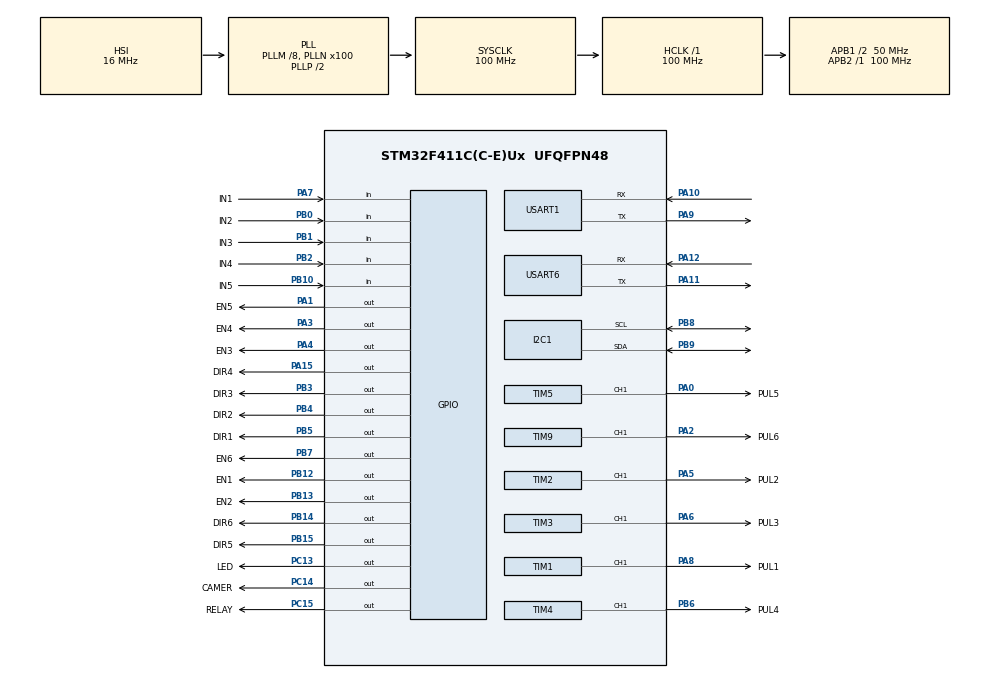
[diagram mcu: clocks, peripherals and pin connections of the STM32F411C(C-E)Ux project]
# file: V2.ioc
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I2C1.I2C_Mode=I2C_Fast
Mcu.Family=STM32F4
Mcu.Name=STM32F411C(C-E)Ux
Mcu.Package=UFQFPN48
NVIC.PriorityGroup=NVIC_PRIORITYGROUP_4
NVIC.TIM1_BRK_TIM9_IRQn=true\:6\:0\:true\:false\:true\:true\:true\:true
NVIC.TIM1_CC_IRQn=true\:6\:0\:true\:false\:true\:true\:true\:true
NVIC.TIM1_TRG_COM_TIM11_IRQn=true\:0\:0\:true\:false\:true\:false\:true\:true
NVIC.TIM1_UP_TIM10_IRQn=true\:6\:0\:true\:false\:true\:true\:true\:true
NVIC.TIM2_IRQn=true\:6\:0\:true\:false\:true\:true\:true\:true
NVIC.TIM3_IRQn=true\:6\:0\:true\:false\:true\:true\:true\:true
NVIC.TIM4_IRQn=true\:6\:0\:true\:false\:true\:true\:true\:true
NVIC.TIM5_IRQn=true\:6\:0\:true\:false\:true\:true\:true\:true
NVIC.TimeBase=TIM1_TRG_COM_TIM11_IRQn
NVIC.TimeBaseIP=TIM11
NVIC.USART1_IRQn=true\:6\:0\:true\:false\:true\:true\:true\:true
NVIC.USART6_IRQn=true\:6\:0\:true\:false\:true\:true\:true\:true
PA0-WKUP.GPIO_Label=PUL5
PA0-WKUP.Signal=S_TIM5_CH1
PA1.GPIO_Label=EN5
PA1.GPIO_PuPd=GPIO_PULLDOWN
PA1.Signal=GPIO_Output
PA10.Mode=Asynchronous
PA10.Signal=USART1_RX
PA11.Mode=Asynchronous
PA11.Signal=USART6_TX
PA12.Mode=Asynchronous
PA12.Signal=USART6_RX
PA13.Mode=Serial_Wire
PA13.Signal=SYS_JTMS-SWDIO
PA14.Mode=Serial_Wire
PA14.Signal=SYS_JTCK-SWCLK
PA15.GPIO_Label=DIR4
PA15.Signal=GPIO_Output
PA2.GPIO_Label=PUL6
PA2.GPIO_PuPd=GPIO_NOPULL
PA2.GPIO_Speed=GPIO_SPEED_FREQ_VERY_HIGH
PA2.Signal=S_TIM9_CH1
PA3.GPIO_Label=EN4
PA3.GPIO_PuPd=GPIO_PULLDOWN
PA3.Signal=GPIO_Output
PA4.GPIO_Label=EN3
PA4.GPIO_PuPd=GPIO_PULLDOWN
PA4.Signal=GPIO_Output
PA5.GPIO_Label=PUL2
PA5.GPIO_PuPd=GPIO_NOPULL
PA5.GPIO_Speed=GPIO_SPEED_FREQ_VERY_HIGH
PA5.Signal=S_TIM2_CH1_ETR
PA6.GPIO_Label=PUL3
PA6.GPIO_PuPd=GPIO_NOPULL
PA6.GPIO_Speed=GPIO_SPEED_FREQ_VERY_HIGH
PA6.Signal=S_TIM3_CH1
PA7.GPIO_Label=IN1
PA7.GPIO_PuPd=GPIO_PULLDOWN
PA7.Signal=GPIO_Input
PA8.GPIO_Label=PUL1
PA8.GPIO_PuPd=GPIO_NOPULL
PA8.GPIO_Speed=GPIO_SPEED_FREQ_VERY_HIGH
PA8.Signal=S_TIM1_CH1
PA9.Mode=Asynchronous
PA9.Signal=USART1_TX
PB0.GPIO_Label=IN2
PB0.GPIO_PuPd=GPIO_PULLDOWN
PB0.Signal=GPIO_Input
PB1.GPIO_Label=IN3
PB1.GPIO_PuPd=GPIO_PULLDOWN
PB1.Signal=GPIO_Input
PB10.GPIO_Label=IN5
PB10.GPIO_PuPd=GPIO_PULLDOWN
PB10.Signal=GPIO_Input
PB12.GPIO_Label=EN1
PB12.GPIO_PuPd=GPIO_PULLDOWN
PB12.Signal=GPIO_Output
PB13.GPIO_Label=EN2
PB13.GPIO_PuPd=GPIO_PULLDOWN
PB13.Signal=GPIO_Output
PB14.GPIO_Label=DIR6
PB14.Signal=GPIO_Output
PB15.GPIO_Label=DIR5
PB15.Signal=GPIO_Output
PB2.GPIO_Label=IN4
PB2.GPIO_PuPd=GPIO_PULLDOWN
PB2.Signal=GPIO_Input
PB3.GPIO_Label=DIR3
PB3.GPIO_PuPd=GPIO_NOPULL
PB3.Signal=GPIO_Output
PB4.GPIO_Label=DIR2
PB4.Signal=GPIO_Output
PB5.GPIO_Label=DIR1
PB5.Signal=GPIO_Output
PB6.GPIO_Label=PUL4
PB6.GPIO_PuPd=GPIO_NOPULL
PB6.GPIO_Speed=GPIO_SPEED_FREQ_VERY_HIGH
PB6.Signal=S_TIM4_CH1
PB7.GPIO_Label=EN6
PB7.GPIO_PuPd=GPIO_PULLDOWN
PB7.Signal=GPIO_Output
PB8.Mode=I2C
PB8.Signal=I2C1_SCL
PB9.Mode=I2C
PB9.Signal=I2C1_SDA
PC13-ANTI_TAMP.GPIO_Label=LED
PC13-ANTI_TAMP.Signal=GPIO_Output
PC14-OSC32_IN.GPIO_Label=CAMER
PC14-OSC32_IN.GPIO_ModeDefaultOutputPP=GPIO_MODE_OUTPUT_PP
PC14-OSC32_IN.GPIO_PuPd=GPIO_PULLUP
PC14-OSC32_IN.PinState=GPIO_PIN_SET
PC14-OSC32_IN.Signal=GPIO_Output
PC15-OSC32_OUT.GPIO_Label=RELAY
PC15-OSC32_OUT.GPIO_PuPd=GPIO_PULLUP
PC15-OSC32_OUT.PinState=GPIO_PIN_SET
PC15-OSC32_OUT.Signal=GPIO_Output
PH0\ -\ OSC_IN.Mode=HSE-External-Oscillator
PH0\ -\ OSC_IN.Signal=RCC_OSC_IN
PH1\ -\ OSC_OUT.Mode=HSE-External-Oscillator
PH1\ -\ OSC_OUT.Signal=RCC_OSC_OUT
ProjectManager.HeapSize=0x200
ProjectManager.StackSize=0x400
ProjectManager.TargetToolchain=STM32CubeIDE
RCC.48MHZClocksFreq_Value=50000000
RCC.AHBFreq_Value=100000000
RCC.APB1CLKDivider=RCC_HCLK_DIV2
RCC.APB1Freq_Value=50000000
RCC.APB1TimFreq_Value=100000000
RCC.APB2Freq_Value=100000000
RCC.APB2TimFreq_Value=100000000
RCC.CortexFreq_Value=100000000
RCC.HCLKFreq_Value=100000000
RCC.HSE_VALUE=25000000
RCC.HSI_VALUE=16000000
RCC.LSE_VALUE=32768
RCC.PLLM=8
RCC.PLLN=100
RCC.SYSCLKFreq_VALUE=100000000
RCC.SYSCLKSource=RCC_SYSCLKSOURCE_PLLCLK
RCC.VCOOutputFreq_Value=200000000
SH.S_TIM1_CH1.0=TIM1_CH1,PWM Generation1 CH1
SH.S_TIM2_CH1_ETR.0=TIM2_CH1,PWM Generation1 CH1
SH.S_TIM3_CH1.0=TIM3_CH1,PWM Generation1 CH1
SH.S_TIM4_CH1.0=TIM4_CH1,PWM Generation1 CH1
SH.S_TIM5_CH1.0=TIM5_CH1,PWM Generation1 CH1
SH.S_TIM9_CH1.0=TIM9_CH1,PWM Generation1 CH1
TIM1.Channel-PWM\ Generation1\ CH1=TIM_CHANNEL_1
TIM1.Period=99
TIM1.Prescaler=999
TIM1.Pulse-PWM\ Generation1\ CH1=49
TIM1.TIM_MasterOutputTrigger=TIM_TRGO_RESET
TIM10.Period=999
TIM10.Prescaler=99
TIM2.Channel-PWM\ Generation1\ CH1=TIM_CHANNEL_1
TIM2.Period=99
TIM2.Prescaler=999
TIM2.Pulse-PWM\ Generation1\ CH1=49
TIM3.Channel-PWM\ Generation1\ CH1=TIM_CHANNEL_1
TIM3.Period=99
TIM3.Prescaler=999
TIM3.Pulse-PWM\ Generation1\ CH1=49
TIM4.Channel-PWM\ Generation1\ CH1=TIM_CHANNEL_1
TIM4.Period=99
TIM4.Prescaler=999
TIM4.Pulse-PWM\ Generation1\ CH1=49
TIM5.Channel-PWM\ Generation1\ CH1=TIM_CHANNEL_1
TIM5.Period=99
TIM5.Prescaler=999
TIM5.Pulse-PWM\ Generation1\ CH1=49
TIM9.Channel-PWM\ Generation1\ CH1=TIM_CHANNEL_1
TIM9.Period=99
TIM9.Prescaler=999
TIM9.Pulse-PWM\ Generation1\ CH1=49
USART1.VirtualMode=VM_ASYNC
USART6.VirtualMode=VM_ASYNC
VP_SYS_VS_tim11.Mode=TIM11
VP_TIM10_VS_ClockSourceINT.Mode=Enable_Timer
VP_TIM1_VS_ClockSourceINT.Mode=Internal
VP_TIM2_VS_ClockSourceINT.Mode=Internal
VP_TIM3_VS_ClockSourceINT.Mode=Internal
VP_TIM4_VS_ClockSourceINT.Mode=Internal
VP_TIM5_VS_ClockSourceINT.Mode=Internal
VP_TIM9_VS_ClockSourceINT.Mode=Internal
board=custom

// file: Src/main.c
/* USER CODE BEGIN Header */
/**
  ******************************************************************************
  * @file           : main.c
  * @brief          : Main program body
  ******************************************************************************
  * @attention
  *
  * Copyright (c) 2024 STMicroelectronics.
  * All rights reserved.
  *
  * This software is licensed under terms that can be found in the LICENSE file
  * in the root directory of this software component.
  * If no LICENSE file comes with this software, it is provided AS-IS.
  *
  ******************************************************************************
  */
/* USER CODE END Header */
#include "main.h"
#include "i2c.h"
#include "tim.h"
#include "usart.h"
#include "gpio.h"

/* USER CODE BEGIN Includes */
#include "printf.h"
#include "app_task.h"
#include "motor_task.h"
/* USER CODE END Includes */

void SystemClock_Config(void);

int main(void)
{

  /* MCU Configuration--------------------------------------------------------*/

  /* Reset of all peripherals, Initializes the Flash interface and the Systick. */
  HAL_Init();

  /* Configure the system clock */
  SystemClock_Config();

  /* Initialize all configured peripherals */
  MX_GPIO_Init();
  MX_I2C1_Init();
  MX_USART1_UART_Init();
  MX_TIM4_Init();
  MX_TIM2_Init();
  MX_TIM1_Init();
  MX_TIM3_Init();
  MX_TIM5_Init();
  MX_TIM9_Init();
  MX_USART6_UART_Init();
  MX_TIM10_Init();
  /* USER CODE BEGIN 2 */

  //创建任务
  App_Init_Task_Init();

//  App_Run_Task_Init();

  HAL_Delay(1000);

  //开启硬件定时器
  HAL_TIM_Base_Start_IT(&htim10);

  //开启串口接收中断
  HAL_UART_Receive_IT(&huart1,&usart1_rec,1);
  HAL_UART_Receive_IT(&huart6,&usart6_rec,1);

  //串口测试
  HAL_UART_Transmit(&huart1,(uint8_t *)"USART1 OK!\r\n",12,0xffffffff);
  HAL_UART_Transmit(&huart6,(uint8_t *)"USART6 OK!\r\n",12,0xffffffff);
  printf("printf OK!\r\n");
  //开启调度器
  vTaskStartScheduler();

  //执行到这里说明运行错误
  HAL_UART_Transmit(&huart6,(uint8_t *)"Error!\r\n",10,0xffffffff);
  HAL_UART_Transmit(&huart1,(uint8_t *)"Error!\r\n",10,0xffffffff);

  /* USER CODE END 2 */

  /* Infinite loop */
  while (1)
  {

  }
}

void SystemClock_Config(void)
{
  RCC_OscInitTypeDef RCC_OscInitStruct = {0};
  RCC_ClkInitTypeDef RCC_ClkInitStruct = {0};

  /** Configure the main internal regulator output voltage
  */
  __HAL_RCC_PWR_CLK_ENABLE();
  __HAL_PWR_VOLTAGESCALING_CONFIG(PWR_REGULATOR_VOLTAGE_SCALE1);

  /** Initializes the RCC Oscillators according to the specified parameters
  * in the RCC_OscInitTypeDef structure.
  */
  RCC_OscInitStruct.OscillatorType = RCC_OSCILLATORTYPE_HSI;
  RCC_OscInitStruct.HSIState = RCC_HSI_ON;
  RCC_OscInitStruct.HSICalibrationValue = RCC_HSICALIBRATION_DEFAULT;
  RCC_OscInitStruct.PLL.PLLState = RCC_PLL_ON;
  RCC_OscInitStruct.PLL.PLLSource = RCC_PLLSOURCE_HSI;
  RCC_OscInitStruct.PLL.PLLM = 8;
  RCC_OscInitStruct.PLL.PLLN = 100;
  RCC_OscInitStruct.PLL.PLLP = RCC_PLLP_DIV2;
  RCC_OscInitStruct.PLL.PLLQ = 4;
  if (HAL_RCC_OscConfig(&RCC_OscInitStruct) != HAL_OK)
  {
    Error_Handler();
  }

  /** Initializes the CPU, AHB and APB buses clocks
  */
  RCC_ClkInitStruct.ClockType = RCC_CLOCKTYPE_HCLK|RCC_CLOCKTYPE_SYSCLK
                              |RCC_CLOCKTYPE_PCLK1|RCC_CLOCKTYPE_PCLK2;
  RCC_ClkInitStruct.SYSCLKSource = RCC_SYSCLKSOURCE_PLLCLK;
  RCC_ClkInitStruct.AHBCLKDivider = RCC_SYSCLK_DIV1;
  RCC_ClkInitStruct.APB1CLKDivider = RCC_HCLK_DIV2;
  RCC_ClkInitStruct.APB2CLKDivider = RCC_HCLK_DIV1;

  if (HAL_RCC_ClockConfig(&RCC_ClkInitStruct, FLASH_LATENCY_3) != HAL_OK)
  {
    Error_Handler();
  }
}

void HAL_TIM_PeriodElapsedCallback(TIM_HandleTypeDef *htim)
{
  if (htim->Instance == TIM11) {
    HAL_IncTick();
  }
  /* USER CODE BEGIN Callback 1 */
  else if(htim->Instance == TIM10)
  {
    static int cnt = 0;
    cnt++;
    if(cnt %100 == 0)
    {
      HAL_GPIO_TogglePin(LED_GPIO_Port, LED_Pin);
      cnt = 0;
    }
  }

  /* USER CODE END Callback 1 */
}

void Error_Handler(void)
{
  __disable_irq();
  while (1)
  {
  }
}
